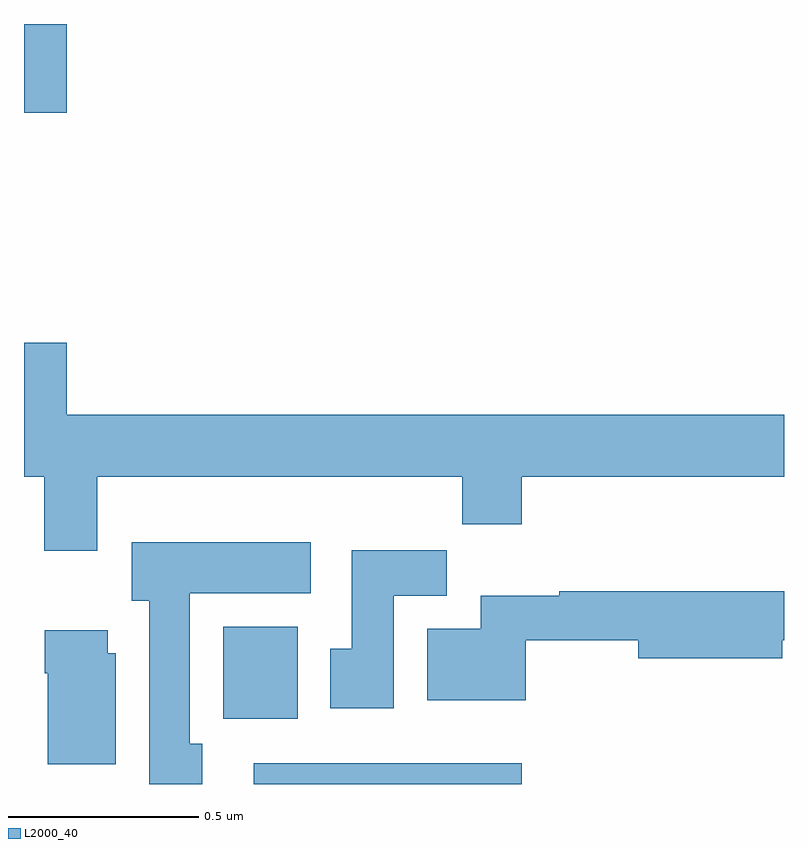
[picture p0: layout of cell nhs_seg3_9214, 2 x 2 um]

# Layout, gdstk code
import gdstk
lib = gdstk.Library(unit=1e-6, precision=1e-09)
def R(c, l, rs):  # rectangles x0, y0, x1, y1
    for r in rs: c.add(gdstk.rectangle(r[:2], r[2:], *l))
def P(c, l, *ps):  # polygons
    for p in ps: c.add(gdstk.Polygon(p, *l))
L2000_40 = (2000, 40)

nhs_seg3_9214 = lib.new_cell('nhs_seg3_9214')
R(nhs_seg3_9214, L2000_40, [(225.605,741.4,226.31,741.454), (225.524,741.572,225.721,741.814), (225,743.166,225.112,743.4)])
P(nhs_seg3_9214, L2000_40, [(225.193,742.208),(226.153,742.208),(226.153,742.084),(226.31,742.084),(226.31,742.208),(227,742.208),(227,742.372),(225.112,742.372),(225.112,742.561),(225,742.561),(225,742.208),(225.053,742.208),(225.053,742.014),(225.193,742.014)],
  [(225.469,741.506),(225.436,741.506),(225.436,741.902),(225.754,741.902),(225.754,742.036),(225.284,742.036),(225.284,741.882),(225.329,741.882),(225.329,741.4),(225.469,741.4)],
  [(225.973,741.896),(226.112,741.896),(226.112,742.015),(225.863,742.015),(225.863,741.756),(225.806,741.756),(225.806,741.6),(225.973,741.6)],
  [(226.32,741.778),(226.616,741.778),(226.616,741.731),(226.996,741.731),(226.996,741.778),(227,741.778),(227,741.907),(226.408,741.907),(226.408,741.896),(226.202,741.896),(226.202,741.808),(226.061,741.808),(226.061,741.62),(226.32,741.62)],
  [(225.241,741.744),(225.22,741.744),(225.22,741.805),(225.055,741.805),(225.055,741.692),(225.062,741.692),(225.062,741.452),(225.241,741.452)])

lib.write_gds('nhs_seg3_9214.gds')
